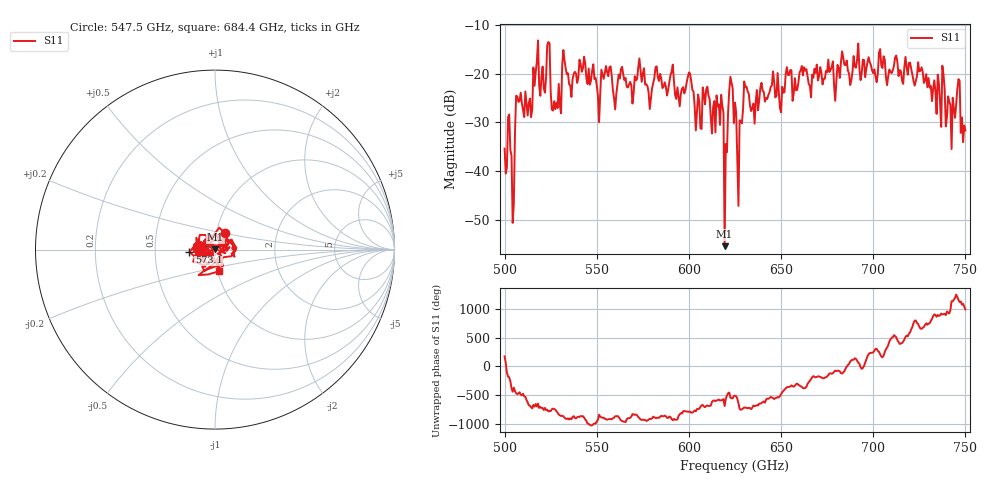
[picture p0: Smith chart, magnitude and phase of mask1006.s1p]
!Created with skrf (http://scikit-rf.org).
# GHz S MA R 50.0
!freq magS11 angS11
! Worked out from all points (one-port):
!   401 points, 500 GHz to 750 GHz, reference 50 ohm
!   lowest |S11| = -55.4 dB at 619.4 GHz (marker M1), VSWR 1.00, Z = 50.1 + j0.0931 ohm
!   |S11| at or under -10 dB: start of sweep to end of sweep
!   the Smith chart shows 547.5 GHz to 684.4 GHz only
!   S11 on the Smith chart (normalised r, x): 547.5 GHz: 1.09, +0.21; 573.1 GHz: 0.75, -0.02; 684.4 GHz: 1.01, -0.25
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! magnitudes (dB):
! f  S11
! 500 GHz  -35.4
! 502.5 GHz  -28.4
! 504.4 GHz  -50.7
! 507.5 GHz  -25.8
! 513.8 GHz  -25.1
! 516.9 GHz  -19.7
! 523.8 GHz  -13.5
! 526.9 GHz  -25.7
! 531.2 GHz  -18.3
! 547.5 GHz  -19.4
! 562.5 GHz  -21.0
! 573.1 GHz  -16.9
! 593.8 GHz  -22.8
! 600 GHz  -19.8
! 616.2 GHz  -26.3
! 619.4 GHz  -55.4
! 622.5 GHz  -20.7
! 625 GHz  -26.0
! 627.5 GHz  -29.6
! 631.2 GHz  -22.7
! 634.4 GHz  -27.0
! 656.2 GHz  -25.6
! 684.4 GHz  -18.2
! 687.5 GHz  -22.4
! 718.8 GHz  -20.2
! 741.2 GHz  -25.8
! 745.6 GHz  -23.1
! 750 GHz  -31.7
